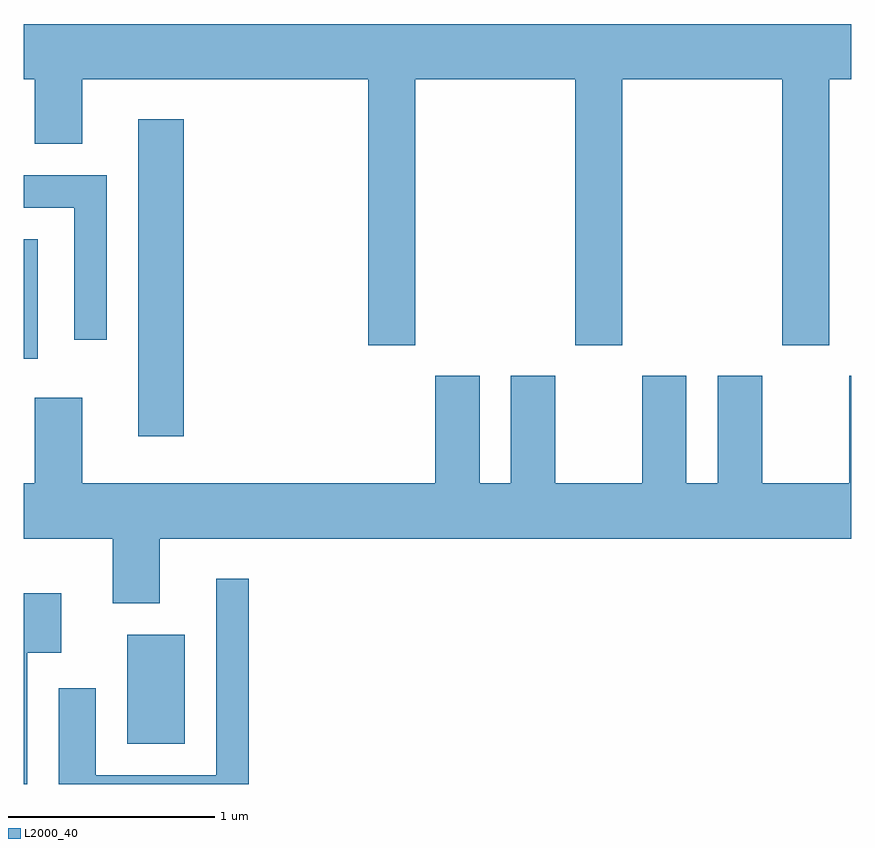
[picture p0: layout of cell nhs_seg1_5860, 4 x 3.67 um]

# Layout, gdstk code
import gdstk
lib = gdstk.Library(unit=1e-6, precision=1e-09)
def R(c, l, rs):  # rectangles x0, y0, x1, y1
    for r in rs: c.add(gdstk.rectangle(r[:2], r[2:], *l))
def P(c, l, *ps):  # polygons
    for p in ps: c.add(gdstk.Polygon(p, *l))
L2000_40 = (2000, 40)

nhs_seg1_5860 = lib.new_cell('nhs_seg1_5860')
R(nhs_seg1_5860, L2000_40, [(362.111,911.906,362.389,912.434), (362.166,913.391,362.384,914.924), (361.611,913.766,361.679,914.344)])
P(nhs_seg1_5860, L2000_40, [(363.504,915.116),(364.276,915.116),(364.276,913.831),(364.504,913.831),(364.504,915.116),(365.276,915.116),(365.276,913.831),(365.504,913.831),(365.504,915.116),(365.611,915.116),(365.611,915.384),(361.611,915.384),(361.611,915.116),(361.666,915.116),(361.666,914.806),(361.894,914.806),(361.894,915.116),(363.276,915.116),(363.276,913.831),(363.504,913.831)],
  [(362.014,914.654),(361.611,914.654),(361.611,914.496),(361.856,914.496),(361.856,913.858),(362.014,913.858)],
  [(362.269,912.896),(365.611,912.896),(365.611,913.684),(365.601,913.684),(365.601,913.164),(365.179,913.164),(365.179,913.684),(364.966,913.684),(364.966,913.164),(364.814,913.164),(364.814,913.684),(364.601,913.684),(364.601,913.164),(364.179,913.164),(364.179,913.684),(363.966,913.684),(363.966,913.164),(363.814,913.164),(363.814,913.684),(363.601,913.684),(363.601,913.164),(361.894,913.164),(361.894,913.579),(361.666,913.579),(361.666,913.164),(361.611,913.164),(361.611,912.896),(362.041,912.896),(362.041,912.586),(362.269,912.586)],
  [(362.699,912.703),(362.541,912.703),(362.541,911.754),(361.959,911.754),(361.959,912.174),(361.781,912.174),(361.781,911.712),(362.699,911.712)],
  [(361.629,912.346),(361.794,912.346),(361.794,912.634),(361.611,912.634),(361.611,911.712),(361.629,911.712)])

lib.write_gds('nhs_seg1_5860.gds')
